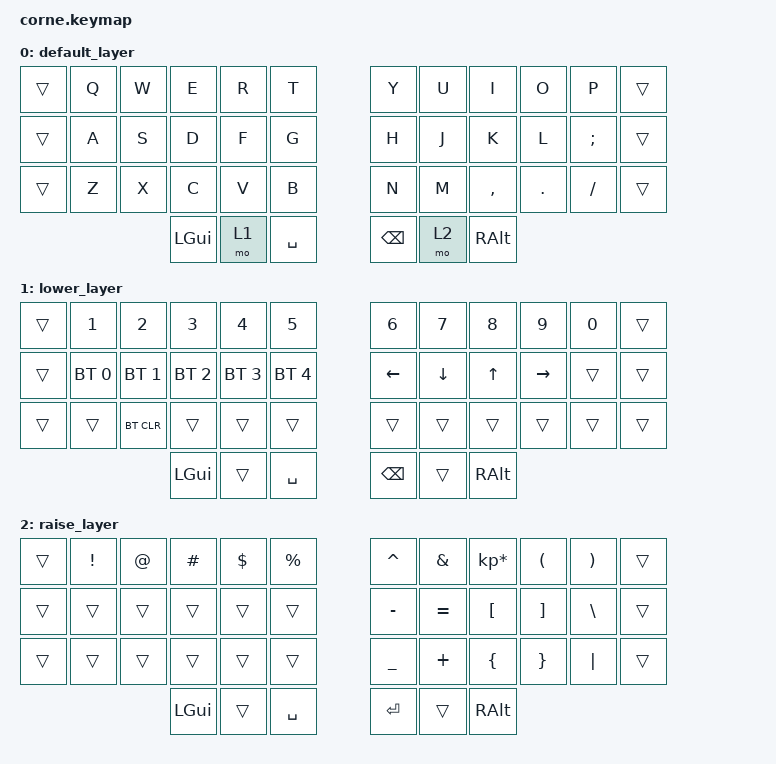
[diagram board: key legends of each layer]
/*
 * Copyright (c) 2020 The ZMK Contributors
 *
 * SPDX-License-Identifier: MIT
 */

#include <behaviors.dtsi>
#include <dt-bindings/zmk/bt.h>
#include <dt-bindings/zmk/keys.h>

/ {
    behaviors {
        hr: hr {
            compatible = "zmk,behavior-hold-tap";
            label = "HR";
            bindings = <&kp>, <&kp>;

            #binding-cells = <2>;
            tapping-term-ms = <400>;
        };
    };

    combos {
        compatible = "zmk,combos";

        enter {
            bindings = <&kp ENTER>;
            key-positions = <38 39>;
        };
    };

    keymap {
        compatible = "zmk,keymap";

        default_layer {
            // -----------------------------------------------------------------------------------------
            // |  TAB |  Q  |  W  |  E  |  R  |  T  |   |  Y  |  U   |  I  |  O  |  P  | BKSP |
            // | CTRL |  A  |  S  |  D  |  F  |  G  |   |  H  |  J   |  K  |  L  |  ;  |  '   |
            // | SHFT |  Z  |  X  |  C  |  V  |  B  |   |  N  |  M   |  ,  |  .  |  /  | ESC  |
            //                    | GUI | LWR | SPC |   | ENT | RSE  | ALT |

            bindings = <
&trans  &kp Q  &kp W  &kp E     &kp R  &kp T        &kp Y          &kp U  &kp I      &kp O    &kp P          &trans
&trans  &kp A  &kp S  &kp D     &kp F  &kp G        &kp H          &kp J  &kp K      &kp L    &kp SEMICOLON  &trans
&trans  &kp Z  &kp X  &kp C     &kp V  &kp B        &kp N          &kp M  &kp COMMA  &kp DOT  &kp FSLH       &trans
                      &kp LGUI  &mo 1  &kp SPACE    &kp BACKSPACE  &mo 2  &kp RALT
            >;
        };

        lower_layer {
            // -----------------------------------------------------------------------------------------
            // |  TAB |  1  |  2  |  3  |  4  |  5  |   |  6  |  7  |  8  |  9  |  0  | BKSP |
            // | BTCLR| BT1 | BT2 | BT3 | BT4 | BT5 |   | LFT | DWN |  UP | RGT |     |      |
            // | SHFT |     |     |     |     |     |   |     |     |     |     |     |      |
            //                    | GUI |     | SPC |   | ENT |     | ALT |

            bindings = <
&trans  &kp N1        &kp N2        &kp N3        &kp N4        &kp N5          &kp N6         &kp N7    &kp N8    &kp N9     &kp N0  &trans
&trans  &bt BT_SEL 0  &bt BT_SEL 1  &bt BT_SEL 2  &bt BT_SEL 3  &bt BT_SEL 4    &kp LEFT       &kp DOWN  &kp UP    &kp RIGHT  &trans  &trans
&trans  &trans        &bt BT_CLR    &trans        &trans        &trans          &trans         &trans    &trans    &trans     &trans  &trans
                                    &kp LGUI      &trans        &kp SPACE       &kp BACKSPACE  &trans    &kp RALT
            >;
        };

        raise_layer {
            // -----------------------------------------------------------------------------------------
            // |  TAB |  !  |  @  |  #  |  $  |  %  |   |  ^  |  &  |  *  |  (  |  )  | BKSP |
            // | CTRL |     |     |     |     |     |   |  -  |  =  |  [  |  ]  |  \  |  `   |
            // | SHFT |     |     |     |     |     |   |  _  |  +  |  {  |  }  | "|" |  ~   |
            //                    | GUI |     | SPC |   | ENT |     | ALT |

            bindings = <
&trans  &kp EXCL  &kp AT  &kp HASH  &kp DLLR  &kp PRCNT    &kp CARET  &kp AMPS   &kp KP_MULTIPLY  &kp LPAR  &kp RPAR  &trans
&trans  &trans    &trans  &trans    &trans    &trans       &kp MINUS  &kp EQUAL  &kp LBKT         &kp RBKT  &kp BSLH  &trans
&trans  &trans    &trans  &trans    &trans    &trans       &kp UNDER  &kp PLUS   &kp LBRC         &kp RBRC  &kp PIPE  &trans
                          &kp LGUI  &trans    &kp SPACE    &kp RET    &trans     &kp RALT
            >;
        };
    };
};
